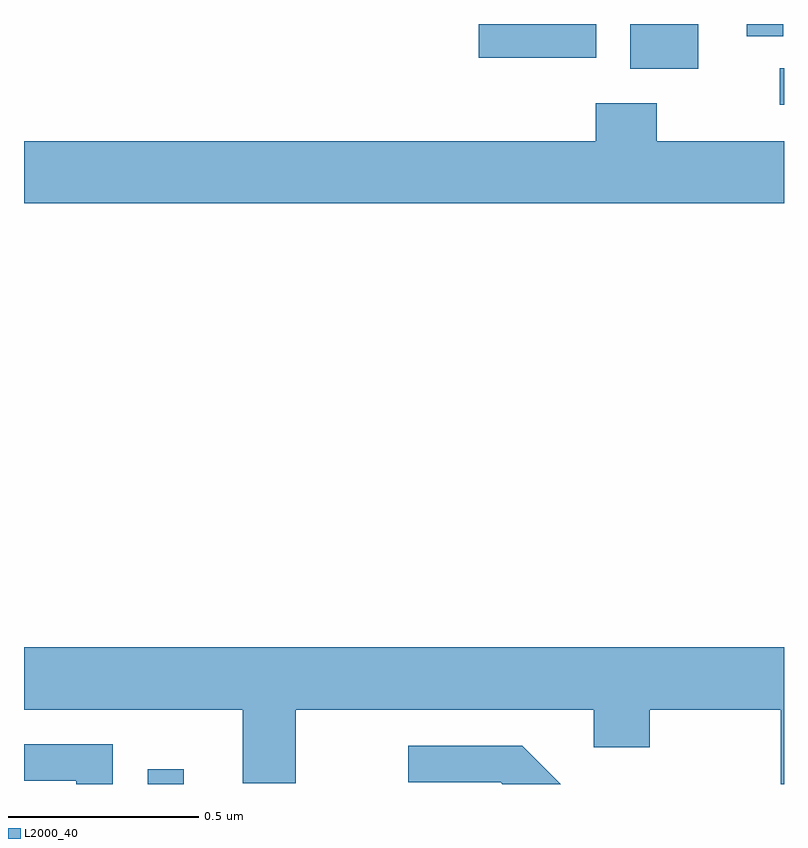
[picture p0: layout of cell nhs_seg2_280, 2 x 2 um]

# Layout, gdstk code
import gdstk
lib = gdstk.Library(unit=1e-6, precision=1e-09)
def R(c, l, rs):  # rectangles x0, y0, x1, y1
    for r in rs: c.add(gdstk.rectangle(r[:2], r[2:], *l))
def P(c, l, *ps):  # polygons
    for p in ps: c.add(gdstk.Polygon(p, *l))
L2000_40 = (2000, 40)

nhs_seg2_280 = lib.new_cell('nhs_seg2_280')
R(nhs_seg2_280, L2000_40, [(114.325,620.8,114.421,620.839), (115.989,622.587,116,622.683), (115.595,622.682,115.774,622.8), (115.197,622.711,115.506,622.8), (115.902,622.768,115.998,622.8)])
P(nhs_seg2_280, L2000_40, [(116,622.492),(115.665,622.492),(115.665,622.591),(115.505,622.591),(115.505,622.492),(114,622.492),(114,622.328),(116,622.328)],
  [(116,621.16),(114,621.16),(114,620.996),(114.575,620.996),(114.575,620.802),(114.715,620.802),(114.715,620.996),(115.499,620.996),(115.499,620.897),(115.647,620.897),(115.647,620.996),(115.991,620.996),(115.991,620.8),(116,620.8)],
  [(114.234,620.904),(114,620.904),(114,620.808),(114.138,620.808),(114.138,620.8),(114.234,620.8)],
  [(115.311,620.901),(115.011,620.901),(115.011,620.805),(115.254,620.805),(115.259,620.8),(115.412,620.8)])

lib.write_gds('nhs_seg2_280.gds')
